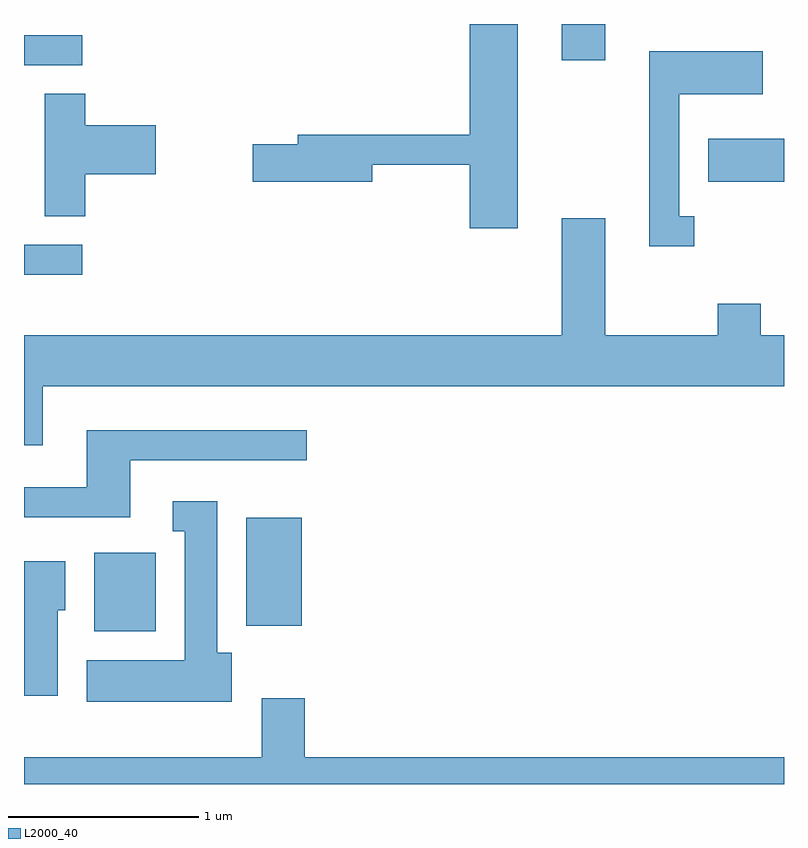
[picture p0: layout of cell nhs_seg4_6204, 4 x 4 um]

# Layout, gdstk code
import gdstk
lib = gdstk.Library(unit=1e-6, precision=1e-09)
def R(c, l, rs):  # rectangles x0, y0, x1, y1
    for r in rs: c.add(gdstk.rectangle(r[:2], r[2:], *l))
def P(c, l, *ps):  # polygons
    for p in ps: c.add(gdstk.Polygon(p, *l))
L2000_40 = (2000, 40)

nhs_seg4_6204 = lib.new_cell('nhs_seg4_6204')
R(nhs_seg4_6204, L2000_40, [(367.981,1286.786,368.304,1287.199), (368.781,1286.816,369.074,1287.384), (367.611,1288.661,367.918,1288.819), (371.211,1289.151,371.611,1289.379), (367.611,1289.766,367.918,1289.924), (370.441,1289.791,370.669,1289.982)])
P(nhs_seg4_6204, L2000_40, [(370.209,1289.982),(369.956,1289.982),(369.956,1289.399),(369.051,1289.399),(369.051,1289.349),(368.816,1289.349),(368.816,1289.151),(369.444,1289.151),(369.444,1289.241),(369.956,1289.241),(369.956,1288.906),(370.209,1288.906)],
  [(371.138,1288.969),(371.059,1288.969),(371.059,1289.611),(371.499,1289.611),(371.499,1289.839),(370.901,1289.839),(370.901,1288.811),(371.138,1288.811)],
  [(367.934,1289.191),(368.304,1289.191),(368.304,1289.449),(367.934,1289.449),(367.934,1289.614),(367.721,1289.614),(367.721,1288.971),(367.934,1288.971)],
  [(367.709,1288.076),(371.611,1288.076),(371.611,1288.344),(371.489,1288.344),(371.489,1288.509),(371.261,1288.509),(371.261,1288.344),(370.669,1288.344),(370.669,1288.959),(370.441,1288.959),(370.441,1288.344),(367.611,1288.344),(367.611,1287.766),(367.709,1287.766)],
  [(368.169,1287.686),(369.098,1287.686),(369.098,1287.844),(367.941,1287.844),(367.941,1287.544),(367.611,1287.544),(367.611,1287.386),(368.169,1287.386)],
  [(368.704,1286.674),(368.629,1286.674),(368.629,1287.469),(368.393,1287.469),(368.393,1287.311),(368.456,1287.311),(368.456,1286.634),(367.941,1286.634),(367.941,1286.416),(368.704,1286.416)],
  [(367.789,1286.896),(367.829,1286.896),(367.829,1287.154),(367.611,1287.154),(367.611,1286.446),(367.789,1286.446)],
  [(371.611,1286.124),(369.089,1286.124),(369.089,1286.434),(368.861,1286.434),(368.861,1286.124),(367.611,1286.124),(367.611,1285.982),(371.611,1285.982)])

lib.write_gds('nhs_seg4_6204.gds')
